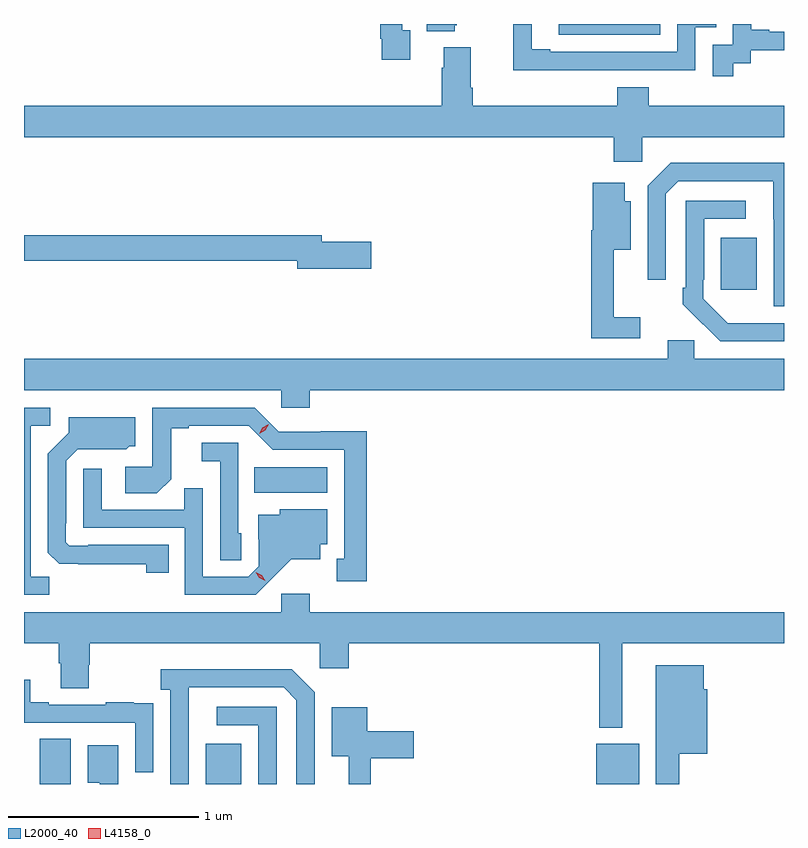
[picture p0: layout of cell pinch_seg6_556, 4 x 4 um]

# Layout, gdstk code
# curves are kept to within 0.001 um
import gdstk
lib = gdstk.Library(unit=1e-6, precision=1e-09)
def R(c, l, rs):  # rectangles x0, y0, x1, y1
    for r in rs: c.add(gdstk.rectangle(r[:2], r[2:], *l))
def P(c, l, *ps):  # polygons
    for p in ps: c.add(gdstk.Polygon(p, *l))
L2000_40 = (2000, 40)
L4158_0 = (4158, 0)

pinch_seg6_556 = lib.new_cell('pinch_seg6_556')
R(pinch_seg6_556, L2000_40, [(600.662,963.911,600.826,964.148), (601.535,963.911,601.723,964.123), (603.59,963.911,603.817,964.123), (601.792,965.444,602.176,965.578), (604.247,966.513,604.435,966.787), (603.393,967.854,603.927,967.911)])
P(pinch_seg6_556, L2000_40, [(602.611,967.878),(602.571,967.878),(602.571,967.911),(602.455,967.911),(602.455,967.834),(602.463,967.834),(602.463,967.722),(602.611,967.722)],
  [(604.312,967.705),(604.404,967.705),(604.404,967.773),(604.579,967.773),(604.579,967.869),(604.501,967.869),(604.501,967.882),(604.406,967.882),(604.406,967.911),(604.308,967.911),(604.308,967.803),(604.203,967.803),(604.203,967.635),(604.312,967.635)],
  [(603.617,967.668),(604.113,967.668),(604.113,967.893),(604.223,967.893),(604.223,967.911),(604.017,967.911),(604.017,967.764),(603.349,967.764),(603.349,967.777),(603.252,967.777),(603.252,967.911),(603.154,967.911),(603.154,967.667),(603.617,967.667)],
  [(602.846,967.905),(602.857,967.905),(602.857,967.911),(602.699,967.911),(602.699,967.874),(602.846,967.874)],
  [(603.834,967.316),(604.579,967.316),(604.579,967.48),(603.866,967.48),(603.866,967.579),(603.701,967.579),(603.701,967.48),(602.942,967.48),(602.942,967.576),(602.929,967.576),(602.929,967.789),(602.789,967.789),(602.789,967.682),(602.777,967.682),(602.777,967.48),(600.579,967.48),(600.579,967.316),(603.683,967.316),(603.683,967.185),(603.834,967.185)],
  [(604.579,967.18),(603.982,967.18),(603.861,967.059),(603.861,966.564),(603.957,966.564),(603.957,967.017),(604.023,967.083),(604.523,967.083),(604.523,966.883),(604.524,966.883),(604.524,966.426),(604.579,966.426)],
  [(603.823,966.367),(603.683,966.367),(603.683,966.722),(603.772,966.722),(603.772,966.979),(603.742,966.979),(603.742,967.075),(603.572,967.075),(603.572,966.826),(603.565,966.826),(603.565,966.258),(603.823,966.258)],
  [(604.579,966.336),(604.284,966.337),(604.155,966.465),(604.155,966.565),(604.158,966.565),(604.158,966.885),(604.378,966.885),(604.378,966.981),(604.062,966.981),(604.062,966.523),(604.047,966.523),(604.047,966.435),(604.244,966.24),(604.579,966.24)],
  [(602.407,966.764),(602.146,966.764),(602.146,966.8),(600.579,966.8),(600.579,966.664),(602.018,966.664),(602.018,966.622),(602.407,966.622)],
  [(602.084,965.984),(604.579,965.984),(604.579,966.148),(604.107,966.148),(604.107,966.246),(603.968,966.246),(603.968,966.148),(600.579,966.148),(600.579,965.984),(601.932,965.984),(601.932,965.891),(602.084,965.891)],
  [(600.711,965.003),(600.615,965.003),(600.615,965.796),(600.718,965.796),(600.718,965.892),(600.579,965.892),(600.579,964.908),(600.711,964.908)],
  [(602.383,965.768),(602.142,965.768),(602.142,965.766),(601.92,965.766),(601.794,965.892),(601.254,965.892),(601.254,965.58),(601.113,965.58),(601.113,965.44),(601.277,965.44),(601.353,965.516),(601.353,965.784),(601.447,965.784),(601.447,965.796),(601.761,965.796),(601.887,965.67),(602.264,965.67),(602.264,965.097),(602.225,965.097),(602.225,964.977),(602.383,964.977)],
  [(601.34,965.169),(600.916,965.169),(600.916,965.166),(600.816,965.166),(600.798,965.184),(600.798,965.284),(600.801,965.284),(600.801,965.613),(600.861,965.673),(601.118,965.672),(601.134,965.688),(601.165,965.688),(601.165,965.842),(600.815,965.842),(600.815,965.76),(600.705,965.65),(600.705,965.128),(600.764,965.069),(601.222,965.068),(601.222,965.022),(601.34,965.022)],
  [(601.722,965.232),(601.707,965.232),(601.707,965.706),(601.515,965.706),(601.515,965.609),(601.611,965.609),(601.611,965.089),(601.722,965.089)],
  [(601.882,964.991),(601.985,965.093),(602.137,965.093),(602.137,965.172),(602.176,965.172),(602.176,965.356),(601.926,965.356),(601.926,965.329),(601.811,965.329),(601.811,965.2),(601.815,965.2),(601.815,965.058),(601.758,965.001),(601.521,965.001),(601.521,965.468),(601.423,965.468),(601.423,965.355),(600.987,965.355),(600.987,965.569),(600.891,965.569),(600.891,965.259),(601.425,965.259),(601.425,964.908),(601.798,964.908)],
  [(603.727,964.652),(604.579,964.652),(604.579,964.816),(602.084,964.816),(602.084,964.912),(601.932,964.912),(601.932,964.816),(600.579,964.816),(600.579,964.652),(600.761,964.652),(600.761,964.546),(600.773,964.546),(600.773,964.414),(600.921,964.414),(600.921,964.539),(600.926,964.539),(600.926,964.652),(602.136,964.652),(602.136,964.521),(602.288,964.521),(602.288,964.652),(603.606,964.652),(603.606,964.208),(603.727,964.208)],
  [(604.027,964.07),(604.174,964.07),(604.174,964.41),(604.156,964.41),(604.156,964.537),(603.905,964.537),(603.905,963.911),(604.027,963.911)],
  [(601.446,964.219),(601.447,964.419),(601.947,964.419),(602.013,964.353),(602.013,963.911),(602.109,963.911),(602.109,964.395),(601.988,964.516),(601.299,964.516),(601.299,964.406),(601.35,964.406),(601.35,963.911),(601.446,963.911)],
  [(601.26,964.226),(601.259,964.226),(601.259,964.335),(601.157,964.335),(601.157,964.342),(601.009,964.342),(601.009,964.329),(600.709,964.329),(600.709,964.342),(600.613,964.342),(600.613,964.459),(600.579,964.459),(600.579,964.233),(601.164,964.233),(601.164,963.972),(601.26,963.972)],
  [(601.908,964.317),(601.593,964.317),(601.593,964.221),(601.812,964.221),(601.812,963.911),(601.908,963.911)],
  [(602.405,964.046),(602.629,964.046),(602.629,964.188),(602.386,964.188),(602.386,964.315),(602.198,964.315),(602.198,964.058),(602.288,964.058),(602.288,963.911),(602.405,963.911)],
  [(601.075,964.114),(600.914,964.114),(600.914,963.917),(600.977,963.917),(600.977,963.911),(601.075,963.911)])
P(pinch_seg6_556, L4158_0, [(601.817,965.754),(601.817,965.754),(601.834,965.786),(601.866,965.805),(601.866,965.805),(601.866,965.805),(601.849,965.773),(601.817,965.754)],
  [(601.848,964.981),(601.817,964.996),(601.799,965.026),(601.799,965.026),(601.8,965.026),(601.83,965.011),(601.848,964.982),(601.848,964.981)])

lib.write_gds('pinch_seg6_556.gds')
